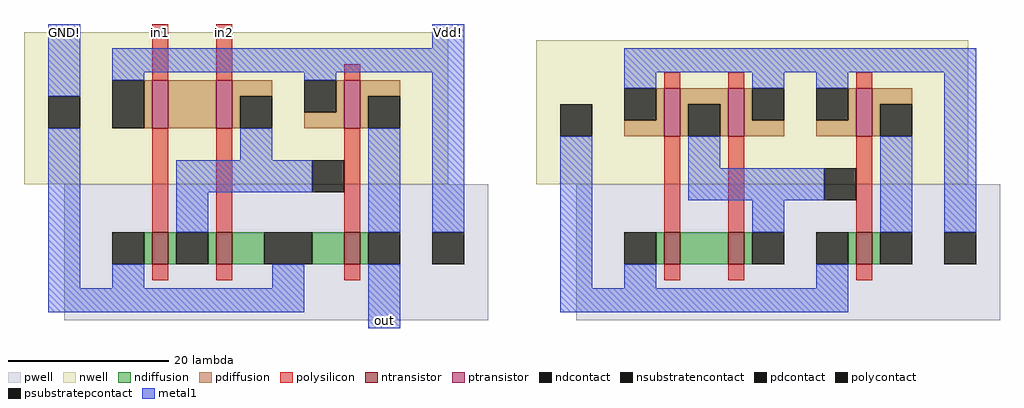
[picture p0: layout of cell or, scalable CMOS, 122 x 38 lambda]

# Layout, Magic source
magic
tech scmos
<< nwell >>
rect -11 10 42 29
rect 53 10 107 28
<< pwell >>
rect -6 -7 47 10
rect 58 -7 111 10
<< ntransistor >>
rect 5 0 7 4
rect 13 0 15 4
rect 29 0 31 4
rect 69 0 71 4
rect 77 0 79 4
rect 93 0 95 4
<< ptransistor >>
rect 5 17 7 23
rect 13 17 15 23
rect 29 17 31 23
rect 69 16 71 22
rect 77 16 79 22
rect 93 16 95 22
<< ndiffusion >>
rect 4 0 5 4
rect 7 0 8 4
rect 12 0 13 4
rect 15 0 19 4
rect 25 0 29 4
rect 31 0 32 4
rect 68 0 69 4
rect 71 0 77 4
rect 79 0 80 4
rect 92 0 93 4
rect 95 0 96 4
<< pdiffusion >>
rect 4 17 5 23
rect 7 17 13 23
rect 15 21 20 23
rect 15 17 16 21
rect 28 19 29 23
rect 24 17 29 19
rect 31 21 36 23
rect 31 17 32 21
rect 68 18 69 22
rect 64 16 69 18
rect 71 20 77 22
rect 71 16 72 20
rect 76 16 77 20
rect 79 18 80 22
rect 79 16 84 18
rect 92 18 93 22
rect 88 16 93 18
rect 95 20 100 22
rect 95 16 96 20
<< ndcontact >>
rect 0 0 4 4
rect 8 0 12 4
rect 19 0 25 4
rect 32 0 36 4
rect 64 0 68 4
rect 80 0 84 4
rect 88 0 92 4
rect 96 0 100 4
<< pdcontact >>
rect 0 17 4 23
rect 16 17 20 21
rect 24 19 28 23
rect 32 17 36 21
rect 64 18 68 22
rect 72 16 76 20
rect 80 18 84 22
rect 88 18 92 22
rect 96 16 100 20
<< psubstratepcontact >>
rect 40 0 44 4
rect 104 0 108 4
<< nsubstratencontact >>
rect -8 17 -4 21
rect 56 16 60 20
<< polysilicon >>
rect 5 23 7 30
rect 13 23 15 30
rect 29 23 31 25
rect 69 22 71 24
rect 77 22 79 24
rect 93 22 95 24
rect 5 4 7 17
rect 13 4 15 17
rect 29 4 31 17
rect 69 4 71 16
rect 77 4 79 16
rect 93 4 95 16
rect 5 -2 7 0
rect 13 -2 15 0
rect 29 -2 31 0
rect 69 -2 71 0
rect 77 -2 79 0
rect 93 -2 95 0
<< polycontact >>
rect 25 9 29 13
rect 89 8 93 12
<< metal1 >>
rect -8 21 -4 30
rect 40 27 44 30
rect 0 24 44 27
rect 0 23 4 24
rect 24 23 28 24
rect -8 -3 -4 17
rect 16 13 20 17
rect 8 9 25 13
rect 8 4 12 9
rect 32 4 36 17
rect 40 4 44 24
rect 64 24 108 27
rect 64 22 68 24
rect 80 22 84 24
rect 0 -3 4 0
rect 20 -3 24 0
rect -8 -6 24 -3
rect 32 -8 36 0
rect 56 -3 60 16
rect 88 22 92 24
rect 72 12 76 16
rect 72 8 89 12
rect 80 4 84 8
rect 96 4 100 16
rect 104 4 108 24
rect 64 -3 68 0
rect 88 -3 92 0
rect 56 -6 92 -3
<< labels >>
rlabel metal1 -6 29 -6 29 4 GND!
rlabel metal1 42 29 42 29 6 Vdd!
rlabel polysilicon 6 29 6 29 5 in1
rlabel polysilicon 14 29 14 29 5 in2
rlabel metal1 34 -7 34 -7 1 out
<< end >>
